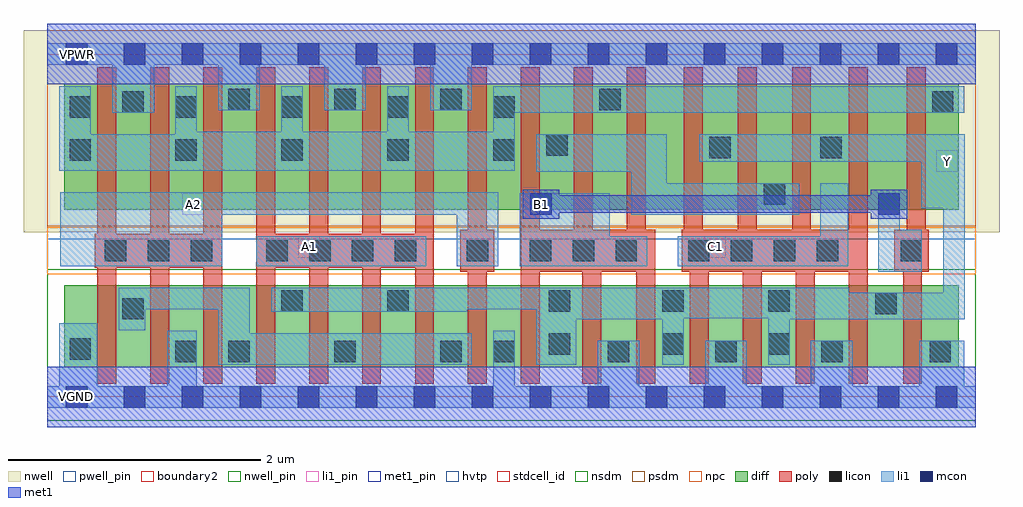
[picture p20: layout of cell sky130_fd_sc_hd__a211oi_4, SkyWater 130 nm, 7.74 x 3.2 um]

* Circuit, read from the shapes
.subckt sky130_fd_sc_hd__a211oi_4 A1 A2 B1 C1 VGND VNB VPB VPWR Y
XM1 n1 A2 VGND VNB sky130_fd_pr__nfet_01v8 w=0.65 l=0.15 m=4
XM2 Y A1 n1 VNB sky130_fd_pr__nfet_01v8 w=0.65 l=0.15 m=4
XM3 Y B1 VGND VNB sky130_fd_pr__nfet_01v8 w=0.65 l=0.15 m=4
XM4 VGND C1 Y VNB sky130_fd_pr__nfet_01v8 w=0.65 l=0.15 m=4
XM5 VPWR A2 n2 VPB sky130_fd_pr__pfet_01v8_hvt w=1 l=0.15 m=4
XM6 n2 A1 VPWR VPB sky130_fd_pr__pfet_01v8_hvt w=1 l=0.15 m=4
XM7 n3 B1 n2 VPB sky130_fd_pr__pfet_01v8_hvt w=1 l=0.15 m=2
XM8 n4 B1 n2 VPB sky130_fd_pr__pfet_01v8_hvt w=1 l=0.15
XM9 Y C1 n4 VPB sky130_fd_pr__pfet_01v8_hvt w=1 l=0.15
XM10 n3 C1 Y VPB sky130_fd_pr__pfet_01v8_hvt w=1 l=0.15 m=2
XM11 n5 C1 Y VPB sky130_fd_pr__pfet_01v8_hvt w=1 l=0.15
XM12 n2 B1 n5 VPB sky130_fd_pr__pfet_01v8_hvt w=1 l=0.15
.ends

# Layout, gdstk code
import gdstk
lib = gdstk.Library(unit=1e-6, precision=1e-09)
def R(c, l, rs):  # rectangles x0, y0, x1, y1
    for r in rs: c.add(gdstk.rectangle(r[:2], r[2:], *l))
def A(c, l, x, y, w, h, nx, ny, dx, dy):  # array of equal rectangles
    R(c, l, [(x+i*dx, y+j*dy, x+i*dx+w, y+j*dy+h) for i in range(nx) for j in range(ny)])
def P(c, l, *ps):  # polygons
    for p in ps: c.add(gdstk.Polygon(p, *l))
nwell_pin = (64, 16)
nwell = (64, 20)
diff = (65, 20)
poly = (66, 20)
licon = (66, 44)
li1_pin = (67, 16)
li1 = (67, 20)
mcon = (67, 44)
met1_pin = (68, 16)
met1 = (68, 20)
hvtp = (78, 44)
stdcell_id = (81, 4)
nsdm = (93, 44)
psdm = (94, 20)
npc = (95, 20)
pwell_pin = (122, 16)
boundary2 = (236, 0)

sky130_fd_sc_hd__a211oi_ = lib.new_cell('sky130_fd_sc_hd__a211oi_4')
R(sky130_fd_sc_hd__a211oi_, nwell_pin, [(0.15,2.635,0.32,2.805)])
R(sky130_fd_sc_hd__a211oi_, nwell, [(-0.19,1.305,7.55,2.91)])
R(sky130_fd_sc_hd__a211oi_, diff, [(0.135,0.235,7.225,0.885), (0.135,1.485,7.225,2.485)])
P(sky130_fd_sc_hd__a211oi_, poly, [(1.385,2.615),(1.235,2.615),(1.235,1.295),(0.965,1.295),(0.965,2.615),(0.815,2.615),(0.815,1.295),(0.545,1.295),(0.545,2.615),(0.395,2.615),(0.395,1.295),(0.375,1.295),(0.375,1.025),(0.395,1.025),(0.395,0.105),(0.545,0.105),(0.545,1.025),(0.815,1.025),(0.815,0.105),(0.965,0.105),(0.965,1.025),(1.235,1.025),(1.235,0.105),(1.385,0.105)],
  [(3.065,2.615),(2.915,2.615),(2.915,1.295),(2.645,1.295),(2.645,2.615),(2.495,2.615),(2.495,1.295),(2.225,1.295),(2.225,2.615),(2.075,2.615),(2.075,1.295),(1.805,1.295),(1.805,2.615),(1.655,2.615),(1.655,0.105),(1.805,0.105),(1.805,1.025),(2.075,1.025),(2.075,0.105),(2.225,0.105),(2.225,1.025),(2.495,1.025),(2.495,0.105),(2.645,0.105),(2.645,1.025),(2.915,1.025),(2.915,0.105),(3.065,0.105)],
  [(3.545,1.325),(3.485,1.325),(3.485,2.615),(3.335,2.615),(3.335,1.325),(3.275,1.325),(3.275,0.995),(3.335,0.995),(3.335,0.105),(3.485,0.105),(3.485,0.995),(3.545,0.995)],
  [(4.82,1.325),(4.745,1.325),(4.745,2.615),(4.595,2.615),(4.595,1.325),(4.325,1.325),(4.325,2.615),(4.175,2.615),(4.175,1.325),(3.905,1.325),(3.905,2.615),(3.755,2.615),(3.755,0.105),(3.905,0.105),(3.905,0.995),(4.24,0.995),(4.24,0.105),(4.39,0.105),(4.39,0.995),(4.67,0.995),(4.67,0.105),(4.82,0.105)],
  [(6.505,2.615),(6.355,2.615),(6.355,1.325),(6.055,1.325),(6.055,2.615),(5.905,2.615),(5.905,1.325),(5.625,1.325),(5.625,2.615),(5.475,2.615),(5.475,1.325),(5.195,1.325),(5.195,2.615),(5.045,2.615),(5.045,1.325),(5.03,1.325),(5.03,0.995),(5.095,0.995),(5.095,0.105),(5.245,0.105),(5.245,0.995),(5.515,0.995),(5.515,0.105),(5.665,0.105),(5.665,0.995),(5.935,0.995),(5.935,0.105),(6.085,0.105),(6.085,0.995),(6.355,0.995),(6.355,0.105),(6.505,0.105)],
  [(6.99,1.325),(6.965,1.325),(6.965,2.615),(6.815,2.615),(6.815,1.325),(6.715,1.325),(6.715,0.995),(6.785,0.995),(6.785,0.105),(6.935,0.105),(6.935,0.995),(6.99,0.995)])
A(sky130_fd_sc_hd__a211oi_, licon, 1.435, 0.275, 0.17, 0.17, 3, 2, 0.84, 2)
A(sky130_fd_sc_hd__a211oi_, licon, 0.455, 1.075, 0.17, 0.17, 3, 1, 0.34, 0)
A(sky130_fd_sc_hd__a211oi_, licon, 1.735, 1.075, 0.17, 0.17, 4, 1, 0.34, 0)
A(sky130_fd_sc_hd__a211oi_, licon, 3.825, 1.075, 0.17, 0.17, 3, 1, 0.34, 0)
A(sky130_fd_sc_hd__a211oi_, licon, 5.08, 1.075, 0.17, 0.17, 4, 1, 0.34, 0)
A(sky130_fd_sc_hd__a211oi_, licon, 0.175, 1.875, 0.17, 0.17, 5, 2, 0.84, 0.34)
R(sky130_fd_sc_hd__a211oi_, licon, [(1.015,0.275,1.185,0.445), (3.535,0.275,3.705,0.445), (4.445,0.275,4.615,0.445), (5.295,0.275,5.465,0.445), (6.135,0.275,6.305,0.445), (6.995,0.275,7.165,0.445), (0.175,0.295,0.345,0.465), (3.975,0.335,4.145,0.505), (4.875,0.335,5.045,0.505), (5.715,0.335,5.885,0.505), (0.595,0.615,0.765,0.785), (6.565,0.655,6.735,0.825), (1.855,0.675,2.025,0.845), (2.695,0.675,2.865,0.845), (3.975,0.675,4.145,0.845), (4.875,0.675,5.045,0.845), (5.715,0.675,5.885,0.845), (3.325,1.075,3.495,1.245), (6.765,1.075,6.935,1.245), (5.68,1.525,5.85,1.695), (5.25,1.895,5.42,2.065), (6.13,1.895,6.3,2.065), (3.955,1.915,4.125,2.085), (0.595,2.255,0.765,2.425), (7.015,2.255,7.185,2.425), (4.375,2.275,4.545,2.445)])
R(sky130_fd_sc_hd__a211oi_, li1_pin, [(1.99,1.105,2.16,1.275), (5.21,1.105,5.38,1.275), (1.07,1.445,1.24,1.615), (7.05,1.785,7.22,1.955)])
P(sky130_fd_sc_hd__a211oi_, li1, [(7.36,0.085),(7.27,0.085),(7.27,0.445),(6.915,0.445),(6.915,0.085),(6.385,0.085),(6.385,0.445),(6.055,0.445),(6.055,0.085),(5.545,0.085),(5.545,0.445),(5.215,0.445),(5.215,0.085),(4.695,0.085),(4.695,0.445),(4.365,0.445),(4.365,0.085),(3.705,0.085),(3.705,0.525),(3.535,0.525),(3.535,0.085),(1.185,0.085),(1.185,0.525),(0.95,0.525),(0.95,0.085),(0.395,0.085),(0.395,0.585),(0.095,0.585),(0.095,0.085),(0,0.085),(0,-0.085),(7.36,-0.085)],
  [(7.36,2.805),(0,2.805),(0,2.635),(0.515,2.635),(0.515,2.255),(0.845,2.255),(0.845,2.635),(1.355,2.635),(1.355,2.275),(1.685,2.275),(1.685,2.635),(2.195,2.635),(2.195,2.275),(2.525,2.275),(2.525,2.635),(3.035,2.635),(3.035,2.275),(3.365,2.275),(3.365,2.635),(7.36,2.635)],
  [(3.575,1.625),(0.1,1.625),(0.1,1.035),(1.385,1.035),(1.385,1.445),(3.245,1.445),(3.245,1.035),(3.575,1.035)],
  [(4.755,1.275),(4.46,1.275),(4.46,1.615),(3.745,1.615),(3.745,1.035),(4.755,1.035)],
  [(5.96,1.695),(4.91,1.695),(4.91,2.085),(3.875,2.085),(3.875,1.785),(4.63,1.785),(4.63,1.445),(5.96,1.445)],
  [(6.35,1.695),(6.13,1.695),(6.13,1.275),(5,1.275),(5,1.035),(6.35,1.035)],
  [(6.935,1.325),(6.76,1.325),(6.76,1.615),(6.59,1.615),(6.59,0.995),(6.935,0.995)],
  [(7.27,2.465),(3.535,2.465),(3.535,2.105),(2.865,2.105),(2.865,2.465),(2.695,2.465),(2.695,2.105),(2.025,2.105),(2.025,2.465),(1.855,2.465),(1.855,2.105),(1.185,2.105),(1.185,2.465),(1.015,2.465),(1.015,2.085),(0.345,2.085),(0.345,2.465),(0.095,2.465),(0.095,1.795),(3.705,1.795),(3.705,2.255),(7.27,2.255)],
  [(3.365,0.505),(1.605,0.505),(1.605,0.865),(0.565,0.865),(0.565,0.53),(0.775,0.53),(0.775,0.695),(1.355,0.695),(1.355,0.255),(3.365,0.255)],
  [(3.005,1.275),(1.66,1.275),(1.66,1.245),(1.655,1.245),(1.655,1.075),(1.66,1.075),(1.66,1.035),(3.005,1.035)],
  [(7.275,2.085),(5.17,2.085),(5.17,1.865),(6.93,1.865),(6.93,1.495),(7.105,1.495),(7.105,0.825),(6.355,0.825),(6.355,0.865),(1.775,0.865),(1.775,0.675),(3.33,0.675),(3.33,0.695),(3.875,0.695),(3.875,0.255),(4.195,0.255),(4.195,0.615),(4.875,0.615),(4.875,0.255),(5.045,0.255),(5.045,0.625),(5.715,0.625),(5.715,0.255),(5.885,0.255),(5.885,0.615),(7.275,0.615)])
A(sky130_fd_sc_hd__a211oi_, mcon, 0.145, -0.085, 0.17, 0.17, 16, 2, 0.46, 2.72)
R(sky130_fd_sc_hd__a211oi_, mcon, [(3.83,1.445,4,1.615), (6.59,1.445,6.76,1.615)])
R(sky130_fd_sc_hd__a211oi_, met1_pin, [(0.15,-0.085,0.32,0.085), (3.83,1.445,4,1.615), (0.15,2.635,0.32,2.805)])
P(sky130_fd_sc_hd__a211oi_, met1, [(6.82,1.645),(6.53,1.645),(6.53,1.6),(4.06,1.6),(4.06,1.645),(3.77,1.645),(3.77,1.415),(4.06,1.415),(4.06,1.46),(6.53,1.46),(6.53,1.415),(6.82,1.415)])
R(sky130_fd_sc_hd__a211oi_, hvtp, [(0,1.25,7.36,2.72)])
R(sky130_fd_sc_hd__a211oi_, stdcell_id, [(0,0,7.36,2.72)])
R(sky130_fd_sc_hd__a211oi_, nsdm, [(0,-0.19,7.36,1.015)])
R(sky130_fd_sc_hd__a211oi_, psdm, [(0,1.355,7.36,2.91)])
R(sky130_fd_sc_hd__a211oi_, npc, [(0,0.975,7.36,1.345)])
R(sky130_fd_sc_hd__a211oi_, pwell_pin, [(0.15,-0.085,0.32,0.085)])
R(sky130_fd_sc_hd__a211oi_, boundary2, [(0,0,7.36,2.72)])
sky130_fd_sc_hd__a211oi_.add(gdstk.FlexPath([(0,2.72),(7.36,2.72)], 0.48, ends="flush", simple_path=True, layer=68, datatype=20))  # met1
sky130_fd_sc_hd__a211oi_.add(gdstk.FlexPath([(0,0),(7.36,0)], 0.48, ends="flush", simple_path=True, layer=68, datatype=20))  # met1
sky130_fd_sc_hd__a211oi_.add(gdstk.Label('A2', (1.155,1.53), layer=67, texttype=5))
sky130_fd_sc_hd__a211oi_.add(gdstk.Label('A1', (2.075,1.19), layer=67, texttype=5))
sky130_fd_sc_hd__a211oi_.add(gdstk.Label('C1', (5.295,1.19), layer=67, texttype=5))
sky130_fd_sc_hd__a211oi_.add(gdstk.Label('Y', (7.135,1.87), layer=67, texttype=5))
sky130_fd_sc_hd__a211oi_.add(gdstk.Label('B1', (3.915,1.53), layer=68, texttype=5))
sky130_fd_sc_hd__a211oi_.add(gdstk.Label('VPWR', (0.235,2.72), layer=68, texttype=5))
sky130_fd_sc_hd__a211oi_.add(gdstk.Label('VGND', (0.23,0), layer=68, texttype=5))
sky130_fd_sc_hd__a211oi_.add(gdstk.Label('VNB', (0.235,0), layer=64, texttype=59))
sky130_fd_sc_hd__a211oi_.add(gdstk.Label('VPB', (0.235,2.72), layer=64, texttype=5))
sky130_fd_sc_hd__a211oi_.add(gdstk.Label('a211oi_4', (0,0), layer=83, texttype=44))

lib.write_gds('sky130_fd_sc_hd__a211oi_4.gds')
